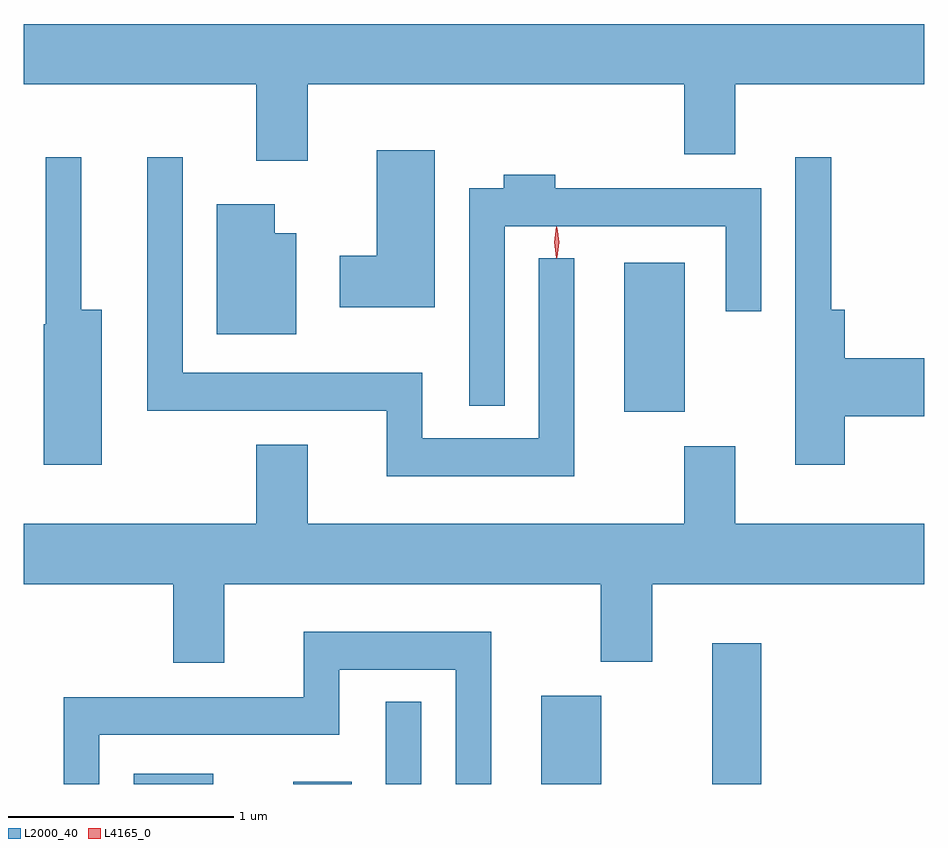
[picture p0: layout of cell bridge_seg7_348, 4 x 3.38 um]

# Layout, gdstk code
import gdstk
lib = gdstk.Library(unit=1e-6, precision=1e-09)
def R(c, l, rs):  # rectangles x0, y0, x1, y1
    for r in rs: c.add(gdstk.rectangle(r[:2], r[2:], *l))
def P(c, l, *ps):  # polygons
    for p in ps: c.add(gdstk.Polygon(p, *l))
L2000_40 = (2000, 40)
L4165_0 = (4165, 0)

bridge_seg7_348 = lib.new_cell('bridge_seg7_348')
R(bridge_seg7_348, L2000_40, [(1158.056,1744.508,1158.409,1744.554), (1158.766,1744.508,1159.024,1744.519), (1159.176,1744.508,1159.334,1744.873), (1159.866,1744.508,1160.134,1744.899), (1160.626,1744.508,1160.844,1745.134), (1160.236,1746.161,1160.504,1746.824)])
P(bridge_seg7_348, L2000_40, [(1158.829,1747.616),(1160.501,1747.616),(1160.501,1747.306),(1160.729,1747.306),(1160.729,1747.616),(1161.568,1747.616),(1161.568,1747.884),(1157.568,1747.884),(1157.568,1747.616),(1158.601,1747.616),(1158.601,1747.276),(1158.829,1747.276)],
  [(1159.394,1747.324),(1159.136,1747.324),(1159.136,1746.854),(1158.971,1746.854),(1158.971,1746.626),(1159.394,1746.626)],
  [(1157.914,1746.614),(1157.824,1746.614),(1157.824,1747.293),(1157.666,1747.293),(1157.666,1746.55),(1157.656,1746.55),(1157.656,1745.926),(1157.914,1745.926)],
  [(1161.214,1746.141),(1161.568,1746.141),(1161.568,1746.399),(1161.214,1746.399),(1161.214,1746.614),(1161.154,1746.614),(1161.154,1747.293),(1160.996,1747.293),(1160.996,1745.926),(1161.214,1745.926)],
  [(1160.014,1746.843),(1159.856,1746.843),(1159.856,1746.044),(1159.339,1746.044),(1159.339,1746.334),(1158.274,1746.334),(1158.274,1747.293),(1158.116,1747.293),(1158.116,1746.166),(1159.181,1746.166),(1159.181,1745.876),(1160.014,1745.876)],
  [(1159.704,1746.986),(1160.686,1746.986),(1160.686,1746.608),(1160.844,1746.608),(1160.844,1747.154),(1159.929,1747.154),(1159.929,1747.214),(1159.701,1747.214),(1159.701,1747.154),(1159.546,1747.154),(1159.546,1746.188),(1159.704,1746.188)],
  [(1158.779,1746.954),(1158.684,1746.954),(1158.684,1747.084),(1158.426,1747.084),(1158.426,1746.506),(1158.779,1746.506)],
  [(1158.459,1745.396),(1160.131,1745.396),(1160.131,1745.051),(1160.359,1745.051),(1160.359,1745.396),(1161.568,1745.396),(1161.568,1745.664),(1160.729,1745.664),(1160.729,1746.009),(1160.501,1746.009),(1160.501,1745.664),(1158.829,1745.664),(1158.829,1746.014),(1158.601,1746.014),(1158.601,1745.664),(1157.568,1745.664),(1157.568,1745.396),(1158.231,1745.396),(1158.231,1745.046),(1158.459,1745.046)],
  [(1157.904,1744.726),(1158.969,1744.726),(1158.969,1745.016),(1159.486,1745.016),(1159.486,1744.508),(1159.644,1744.508),(1159.644,1745.184),(1158.811,1745.184),(1158.811,1744.894),(1157.746,1744.894),(1157.746,1744.508),(1157.904,1744.508)])
P(bridge_seg7_348, L4165_0, [(1159.934,1746.844),(1159.925,1746.914),(1159.934,1746.983),(1159.935,1746.983),(1159.935,1746.983),(1159.945,1746.914),(1159.935,1746.844),(1159.935,1746.844)],
  [(1159.936,1746.847),(1159.936,1746.847),(1159.926,1746.914),(1159.936,1746.98),(1159.936,1746.981),(1159.937,1746.98),(1159.946,1746.914),(1159.937,1746.847)])

lib.write_gds('bridge_seg7_348.gds')
